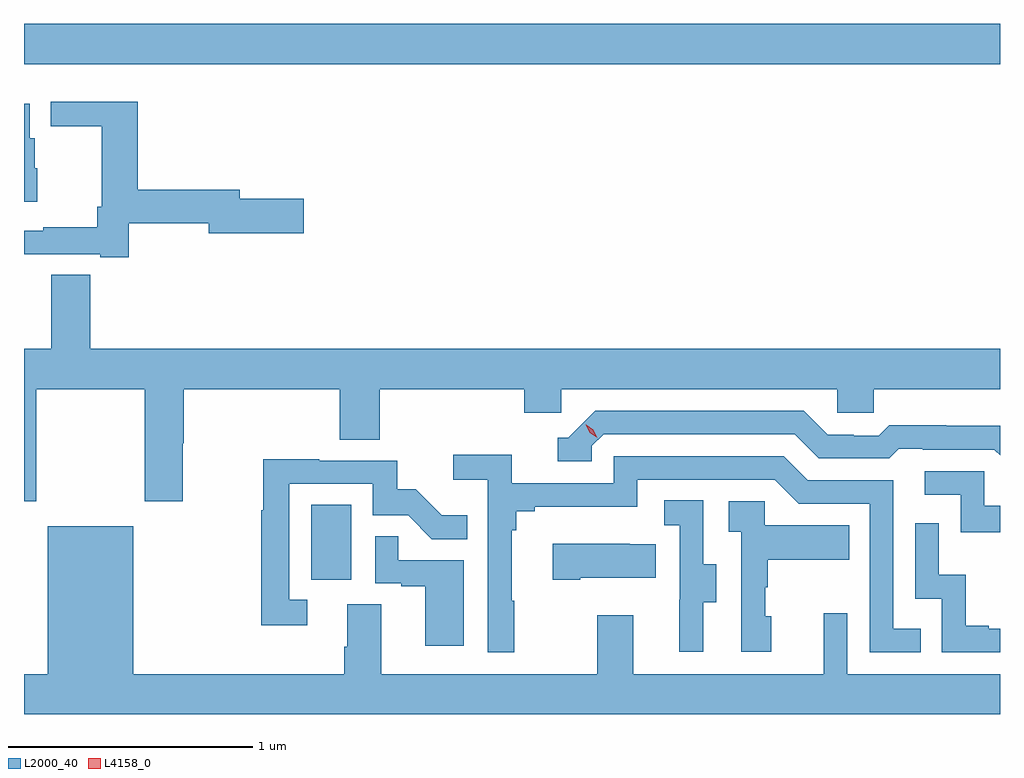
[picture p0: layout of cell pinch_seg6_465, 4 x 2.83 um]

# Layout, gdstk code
import gdstk
lib = gdstk.Library(unit=1e-6, precision=1e-09)
def R(c, l, rs):  # rectangles x0, y0, x1, y1
    for r in rs: c.add(gdstk.rectangle(r[:2], r[2:], *l))
def P(c, l, *ps):  # polygons
    for p in ps: c.add(gdstk.Polygon(p, *l))
L2000_40 = (2000, 40)
L4158_0 = (4158, 0)

pinch_seg6_465 = lib.new_cell('pinch_seg6_465')
R(pinch_seg6_465, L2000_40, [(879.272,921.246,879.436,921.553), (878.095,923.36,882.095,923.524)])
P(pinch_seg6_465, L2000_40, [(878.524,922.708),(878.852,922.708),(878.852,922.666),(879.241,922.666),(879.241,922.808),(878.98,922.808),(878.98,922.844),(878.561,922.844),(878.561,923.206),(878.205,923.206),(878.205,923.104),(878.414,923.104),(878.414,922.774),(878.395,922.774),(878.395,922.69),(878.173,922.69),(878.173,922.677),(878.095,922.677),(878.095,922.581),(878.408,922.581),(878.408,922.569),(878.524,922.569)],
  [(878.149,922.932),(878.14,922.932),(878.14,923.055),(878.119,923.055),(878.119,923.197),(878.095,923.197),(878.095,922.796),(878.149,922.796)],
  [(878.145,922.028),(878.59,922.028),(878.59,921.567),(878.745,921.567),(878.745,921.806),(878.75,921.806),(878.75,922.028),(879.389,922.028),(879.389,921.82),(879.554,921.82),(879.554,922.028),(880.145,922.028),(880.145,921.93),(880.296,921.93),(880.296,922.028),(881.427,922.028),(881.427,921.93),(881.577,921.93),(881.577,922.028),(882.095,922.028),(882.095,922.192),(878.366,922.192),(878.366,922.496),(878.206,922.496),(878.206,922.192),(878.095,922.192),(878.095,921.567),(878.145,921.567)],
  [(880.422,921.795),(880.47,921.843),(881.253,921.843),(881.352,921.744),(881.641,921.744),(881.68,921.783),(881.779,921.783),(881.779,921.78),(882.072,921.78),(882.095,921.757),(882.095,921.877),(881.874,921.877),(881.874,921.88),(881.641,921.88),(881.599,921.837),(881.496,921.837),(881.496,921.84),(881.389,921.84),(881.29,921.939),(880.437,921.939),(880.326,921.828),(880.283,921.828),(880.283,921.732),(880.422,921.732)],
  [(880.105,921.161),(880.093,921.161),(880.093,921.449),(880.112,921.449),(880.112,921.526),(880.189,921.526),(880.189,921.545),(880.608,921.545),(880.608,921.657),(881.172,921.657),(881.271,921.558),(881.562,921.558),(881.562,920.949),(881.771,920.949),(881.771,921.045),(881.658,921.045),(881.658,921.654),(881.308,921.654),(881.209,921.753),(880.512,921.753),(880.512,921.642),(880.094,921.642),(880.094,921.758),(879.855,921.758),(879.855,921.656),(879.996,921.656),(879.996,920.949),(880.105,920.949)],
  [(879.256,921.165),(879.183,921.165),(879.183,921.639),(879.525,921.639),(879.525,921.51),(879.669,921.51),(879.767,921.412),(879.911,921.412),(879.911,921.511),(879.807,921.511),(879.7,921.618),(879.624,921.618),(879.624,921.735),(879.305,921.735),(879.305,921.74),(879.075,921.74),(879.075,921.532),(879.067,921.532),(879.067,921.06),(879.256,921.06)],
  [(882.095,921.549),(882.03,921.549),(882.03,921.69),(881.787,921.69),(881.787,921.594),(881.934,921.594),(881.934,921.441),(882.095,921.441)],
  [(880.879,921.154),(880.933,921.154),(880.933,921.309),(880.878,921.309),(880.878,921.572),(880.719,921.572),(880.719,921.469),(880.782,921.469),(880.782,921.165),(880.781,921.165),(880.781,920.952),(880.879,920.952)],
  [(881.158,921.096),(881.133,921.096),(881.133,921.215),(881.143,921.215),(881.143,921.329),(881.477,921.329),(881.477,921.469),(881.13,921.469),(881.13,921.567),(880.983,921.567),(880.983,921.443),(881.034,921.443),(881.034,920.952),(881.158,920.952)],
  [(882.095,921.045),(882.049,921.045),(882.049,921.058),(881.954,921.058),(881.954,921.266),(881.844,921.266),(881.844,921.478),(881.748,921.478),(881.748,921.168),(881.856,921.168),(881.856,920.949),(882.095,920.949)],
  [(882.095,920.86),(881.469,920.86),(881.469,921.109),(881.372,921.109),(881.372,920.86),(880.591,920.86),(880.591,921.1),(880.444,921.1),(880.444,920.86),(879.559,920.86),(879.559,921.146),(879.419,921.146),(879.419,920.972),(879.407,920.972),(879.407,920.86),(878.542,920.86),(878.542,921.466),(878.192,921.466),(878.192,920.86),(878.095,920.86),(878.095,920.696),(882.095,920.696)],
  [(879.898,921.327),(879.629,921.327),(879.629,921.425),(879.534,921.425),(879.534,921.231),(879.641,921.231),(879.641,921.219),(879.74,921.219),(879.74,920.976),(879.898,920.976)],
  [(880.375,921.254),(880.685,921.254),(880.685,921.391),(880.577,921.391),(880.577,921.394),(880.263,921.394),(880.263,921.247),(880.375,921.247)])
P(pinch_seg6_465, L4158_0, [(880.444,921.828),(880.414,921.848),(880.398,921.881),(880.398,921.881),(880.399,921.881),(880.429,921.861),(880.445,921.828),(880.445,921.828)])

lib.write_gds('pinch_seg6_465.gds')
